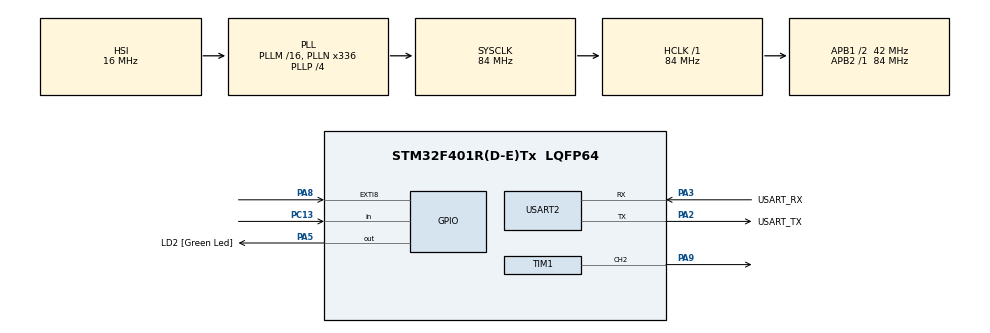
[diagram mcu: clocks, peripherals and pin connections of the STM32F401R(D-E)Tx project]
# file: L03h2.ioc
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Mcu.Family=STM32F4
Mcu.Name=STM32F401R(D-E)Tx
Mcu.Package=LQFP64
NVIC.EXTI9_5_IRQn=true\:0\:0\:true\:false\:true\:true\:true\:true
NVIC.PriorityGroup=NVIC_PRIORITYGROUP_0
NVIC.TIM2_IRQn=true\:0\:0\:true\:false\:true\:true\:true\:true
PA13.GPIO_Label=TMS
PA13.Mode=Serial_Wire
PA13.Signal=SYS_JTMS-SWDIO
PA14.GPIO_Label=TCK
PA14.Mode=Serial_Wire
PA14.Signal=SYS_JTCK-SWCLK
PA2.GPIO_Label=USART_TX
PA2.GPIO_Mode=GPIO_MODE_AF_PP
PA2.GPIO_PuPd=GPIO_NOPULL
PA2.GPIO_Speed=GPIO_SPEED_FREQ_LOW
PA2.Mode=Asynchronous
PA2.Signal=USART2_TX
PA3.GPIO_Label=USART_RX
PA3.GPIO_Mode=GPIO_MODE_AF_PP
PA3.GPIO_PuPd=GPIO_NOPULL
PA3.GPIO_Speed=GPIO_SPEED_FREQ_LOW
PA3.Mode=Asynchronous
PA3.Signal=USART2_RX
PA5.GPIO_Label=LD2 [Green Led]
PA5.GPIO_Mode=GPIO_MODE_OUTPUT_PP
PA5.GPIO_PuPd=GPIO_NOPULL
PA5.GPIO_Speed=GPIO_SPEED_FREQ_LOW
PA5.Signal=GPIO_Output
PA8.Signal=GPXTI8
PA9.Signal=S_TIM1_CH2
PB3.GPIO_Label=SWO
PB3.Signal=SYS_JTDO-SWO
PC13-ANTI_TAMP.Signal=GPIO_Input
PC14-OSC32_IN.Mode=LSE-External-Oscillator
PC14-OSC32_IN.Signal=RCC_OSC32_IN
PC15-OSC32_OUT.Mode=LSE-External-Oscillator
PC15-OSC32_OUT.Signal=RCC_OSC32_OUT
PH0\ -\ OSC_IN.Mode=HSE-External-Clock-Source
PH0\ -\ OSC_IN.Signal=RCC_OSC_IN
PH1\ -\ OSC_OUT.Mode=HSE-External-Clock-Source
PH1\ -\ OSC_OUT.Signal=RCC_OSC_OUT
ProjectManager.HeapSize=0x200
ProjectManager.StackSize=0x400
ProjectManager.TargetToolchain=STM32CubeIDE
RCC.48MHZClocksFreq_Value=48000000
RCC.AHBFreq_Value=84000000
RCC.APB1CLKDivider=RCC_HCLK_DIV2
RCC.APB1Freq_Value=42000000
RCC.APB1TimFreq_Value=84000000
RCC.APB2Freq_Value=84000000
RCC.APB2TimFreq_Value=84000000
RCC.CortexFreq_Value=84000000
RCC.HCLKFreq_Value=84000000
RCC.HSE_VALUE=8000000
RCC.HSI_VALUE=16000000
RCC.PLLN=336
RCC.PLLP=RCC_PLLP_DIV4
RCC.PLLQ=7
RCC.SYSCLKFreq_VALUE=84000000
RCC.SYSCLKSource=RCC_SYSCLKSOURCE_PLLCLK
RCC.VCOOutputFreq_Value=336000000
SH.S_TIM1_CH2.0=TIM1_CH2,PWM Generation2 CH2
TIM1.Channel-PWM\ Generation2\ CH2=TIM_CHANNEL_2
TIM1.Period=1908
TIM1.Prescaler=99
TIM1.Pulse-PWM\ Generation2\ CH2=954
TIM2.AutoReloadPreload=TIM_AUTORELOAD_PRELOAD_DISABLE
TIM2.Period=9
TIM2.Prescaler=8399
USART2.VirtualMode=VM_ASYNC
VP_TIM1_VS_ClockSourceINT.Mode=Internal
VP_TIM2_VS_ClockSourceINT.Mode=Internal
board=NUCLEO-F401RE

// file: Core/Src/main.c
/* USER CODE BEGIN Header */
/**
  ******************************************************************************
  * @file           : main.c
  * @brief          : Main program body
  ******************************************************************************
  * @attention
  *
  * Copyright (c) 2024 STMicroelectronics.
  * All rights reserved.
  *
  * This software is licensed under terms that can be found in the LICENSE file
  * in the root directory of this software component.
  * If no LICENSE file comes with this software, it is provided AS-IS.
  *
  ******************************************************************************
  */
/* USER CODE END Header */
#include "main.h"

/* USER CODE BEGIN PTD */
typedef struct note {
	int period;
	int dur;
} note;
/* USER CODE END PTD */

/* USER CODE BEGIN PD */
#define _DO4 3205
#define _DOD4 3031
#define _RE4 2856
#define _RED4 2699
#define _MI4 2544
#define _FA4 2405
#define _FAD4 2269
#define _SOL4 2141
#define _SOLD4 2023
#define _LA4 1908
#define _LAD4 1801
#define _SI4 1699

#define BASE 749
/* USER CODE END PD */

TIM_HandleTypeDef htim1;
TIM_HandleTypeDef htim2;

UART_HandleTypeDef huart2;

/* USER CODE BEGIN PV */
note score[] = {
		{_SOL4, 6},
		{_LA4, 2},
		{_SOL4, 4},
		{_FA4, 4},
		{_MI4, 4},
		{_FA4, 4},
		{_SOL4, 8},
		{_RE4, 4},
		{_MI4, 4},
		{_FA4, 8},
		{_MI4, 4},
		{_FA4, 4},
		{_SOL4, 8},
		{_SOL4, 6},
		{_LA4, 2},
		{_SOL4, 4},
		{_FA4, 4},
		{_MI4, 4},
		{_FA4, 4},
		{_SOL4, 8},
		{_RE4, 8},
		{_SOL4, 8},
		{_MI4, 4},
		{_DO4, 12},
};
int song_playing = 0;
int score_len = sizeof(score)/sizeof(score[0]);
int note_index = 0;
/* USER CODE END PV */

void SystemClock_Config(void);
static void MX_GPIO_Init(void);
static void MX_USART2_UART_Init(void);
static void MX_TIM1_Init(void);
static void MX_TIM2_Init(void);

/* USER CODE BEGIN 0 */

void play_note(int note_index) {
	HAL_TIM_PWM_Stop(&htim1, TIM_CHANNEL_2);
	HAL_TIM_Base_Stop_IT(&htim2);

	if (note_index >= score_len) {
		__HAL_TIM_CLEAR_IT(&htim2, TIM_IT_UPDATE);
		song_playing = 0;
		return;
	}

	note n = score[note_index];

	htim1.Instance->ARR = n.period;
	htim1.Instance->CCR2 = n.period/2;
	htim1.Instance->CNT = 0;

	htim2.Instance->ARR = n.dur * (BASE + 1) - 1;
	htim2.Instance->CNT = 0;

	HAL_TIM_PWM_Start(&htim1, TIM_CHANNEL_2);
	HAL_TIM_Base_Start_IT(&htim2);
	__HAL_TIM_CLEAR_IT(&htim2, TIM_IT_UPDATE);
}

void play_song(){
	song_playing = 1;
	note_index = 0;
	play_note(note_index);
}
/* USER CODE END 0 */

int main(void)
{

  /* MCU Configuration--------------------------------------------------------*/

  /* Reset of all peripherals, Initializes the Flash interface and the Systick. */
  HAL_Init();

  /* Configure the system clock */
  SystemClock_Config();

  /* Initialize all configured peripherals */
  MX_GPIO_Init();
  MX_USART2_UART_Init();
  MX_TIM1_Init();
  MX_TIM2_Init();

  /* Infinite loop */
  while (1)
  {

  }
}

void SystemClock_Config(void)
{
  RCC_OscInitTypeDef RCC_OscInitStruct = {0};
  RCC_ClkInitTypeDef RCC_ClkInitStruct = {0};

  /** Configure the main internal regulator output voltage
  */
  __HAL_RCC_PWR_CLK_ENABLE();
  __HAL_PWR_VOLTAGESCALING_CONFIG(PWR_REGULATOR_VOLTAGE_SCALE2);

  /** Initializes the RCC Oscillators according to the specified parameters
  * in the RCC_OscInitTypeDef structure.
  */
  RCC_OscInitStruct.OscillatorType = RCC_OSCILLATORTYPE_HSI;
  RCC_OscInitStruct.HSIState = RCC_HSI_ON;
  RCC_OscInitStruct.HSICalibrationValue = RCC_HSICALIBRATION_DEFAULT;
  RCC_OscInitStruct.PLL.PLLState = RCC_PLL_ON;
  RCC_OscInitStruct.PLL.PLLSource = RCC_PLLSOURCE_HSI;
  RCC_OscInitStruct.PLL.PLLM = 16;
  RCC_OscInitStruct.PLL.PLLN = 336;
  RCC_OscInitStruct.PLL.PLLP = RCC_PLLP_DIV4;
  RCC_OscInitStruct.PLL.PLLQ = 7;
  if (HAL_RCC_OscConfig(&RCC_OscInitStruct) != HAL_OK)
  {
    Error_Handler();
  }

  /** Initializes the CPU, AHB and APB buses clocks
  */
  RCC_ClkInitStruct.ClockType = RCC_CLOCKTYPE_HCLK|RCC_CLOCKTYPE_SYSCLK
                              |RCC_CLOCKTYPE_PCLK1|RCC_CLOCKTYPE_PCLK2;
  RCC_ClkInitStruct.SYSCLKSource = RCC_SYSCLKSOURCE_PLLCLK;
  RCC_ClkInitStruct.AHBCLKDivider = RCC_SYSCLK_DIV1;
  RCC_ClkInitStruct.APB1CLKDivider = RCC_HCLK_DIV2;
  RCC_ClkInitStruct.APB2CLKDivider = RCC_HCLK_DIV1;

  if (HAL_RCC_ClockConfig(&RCC_ClkInitStruct, FLASH_LATENCY_2) != HAL_OK)
  {
    Error_Handler();
  }
}

static void MX_TIM1_Init(void)
{

  TIM_ClockConfigTypeDef sClockSourceConfig = {0};
  TIM_MasterConfigTypeDef sMasterConfig = {0};
  TIM_OC_InitTypeDef sConfigOC = {0};
  TIM_BreakDeadTimeConfigTypeDef sBreakDeadTimeConfig = {0};

  htim1.Instance = TIM1;
  htim1.Init.Prescaler = 99;
  htim1.Init.CounterMode = TIM_COUNTERMODE_UP;
  htim1.Init.Period = 1908;
  htim1.Init.ClockDivision = TIM_CLOCKDIVISION_DIV1;
  htim1.Init.RepetitionCounter = 0;
  htim1.Init.AutoReloadPreload = TIM_AUTORELOAD_PRELOAD_DISABLE;
  if (HAL_TIM_Base_Init(&htim1) != HAL_OK)
  {
    Error_Handler();
  }
  sClockSourceConfig.ClockSource = TIM_CLOCKSOURCE_INTERNAL;
  if (HAL_TIM_ConfigClockSource(&htim1, &sClockSourceConfig) != HAL_OK)
  {
    Error_Handler();
  }
  if (HAL_TIM_PWM_Init(&htim1) != HAL_OK)
  {
    Error_Handler();
  }
  sMasterConfig.MasterOutputTrigger = TIM_TRGO_RESET;
  sMasterConfig.MasterSlaveMode = TIM_MASTERSLAVEMODE_DISABLE;
  if (HAL_TIMEx_MasterConfigSynchronization(&htim1, &sMasterConfig) != HAL_OK)
  {
    Error_Handler();
  }
  sConfigOC.OCMode = TIM_OCMODE_PWM1;
  sConfigOC.Pulse = 954;
  sConfigOC.OCPolarity = TIM_OCPOLARITY_HIGH;
  sConfigOC.OCNPolarity = TIM_OCNPOLARITY_HIGH;
  sConfigOC.OCFastMode = TIM_OCFAST_DISABLE;
  sConfigOC.OCIdleState = TIM_OCIDLESTATE_RESET;
  sConfigOC.OCNIdleState = TIM_OCNIDLESTATE_RESET;
  if (HAL_TIM_PWM_ConfigChannel(&htim1, &sConfigOC, TIM_CHANNEL_2) != HAL_OK)
  {
    Error_Handler();
  }
  sBreakDeadTimeConfig.OffStateRunMode = TIM_OSSR_DISABLE;
  sBreakDeadTimeConfig.OffStateIDLEMode = TIM_OSSI_DISABLE;
  sBreakDeadTimeConfig.LockLevel = TIM_LOCKLEVEL_OFF;
  sBreakDeadTimeConfig.DeadTime = 0;
  sBreakDeadTimeConfig.BreakState = TIM_BREAK_DISABLE;
  sBreakDeadTimeConfig.BreakPolarity = TIM_BREAKPOLARITY_HIGH;
  sBreakDeadTimeConfig.AutomaticOutput = TIM_AUTOMATICOUTPUT_DISABLE;
  if (HAL_TIMEx_ConfigBreakDeadTime(&htim1, &sBreakDeadTimeConfig) != HAL_OK)
  {
    Error_Handler();
  }
  HAL_TIM_MspPostInit(&htim1);

}

static void MX_TIM2_Init(void)
{

  TIM_ClockConfigTypeDef sClockSourceConfig = {0};
  TIM_MasterConfigTypeDef sMasterConfig = {0};

  htim2.Instance = TIM2;
  htim2.Init.Prescaler = 8399;
  htim2.Init.CounterMode = TIM_COUNTERMODE_UP;
  htim2.Init.Period = 9;
  htim2.Init.ClockDivision = TIM_CLOCKDIVISION_DIV1;
  htim2.Init.AutoReloadPreload = TIM_AUTORELOAD_PRELOAD_DISABLE;
  if (HAL_TIM_Base_Init(&htim2) != HAL_OK)
  {
    Error_Handler();
  }
  sClockSourceConfig.ClockSource = TIM_CLOCKSOURCE_INTERNAL;
  if (HAL_TIM_ConfigClockSource(&htim2, &sClockSourceConfig) != HAL_OK)
  {
    Error_Handler();
  }
  sMasterConfig.MasterOutputTrigger = TIM_TRGO_RESET;
  sMasterConfig.MasterSlaveMode = TIM_MASTERSLAVEMODE_DISABLE;
  if (HAL_TIMEx_MasterConfigSynchronization(&htim2, &sMasterConfig) != HAL_OK)
  {
    Error_Handler();
  }

}

static void MX_USART2_UART_Init(void)
{

  huart2.Instance = USART2;
  huart2.Init.BaudRate = 115200;
  huart2.Init.WordLength = UART_WORDLENGTH_8B;
  huart2.Init.StopBits = UART_STOPBITS_1;
  huart2.Init.Parity = UART_PARITY_NONE;
  huart2.Init.Mode = UART_MODE_TX_RX;
  huart2.Init.HwFlowCtl = UART_HWCONTROL_NONE;
  huart2.Init.OverSampling = UART_OVERSAMPLING_16;
  if (HAL_UART_Init(&huart2) != HAL_OK)
  {
    Error_Handler();
  }

}

static void MX_GPIO_Init(void)
{
  GPIO_InitTypeDef GPIO_InitStruct = {0};

  /* GPIO Ports Clock Enable */
  __HAL_RCC_GPIOC_CLK_ENABLE();
  __HAL_RCC_GPIOH_CLK_ENABLE();
  __HAL_RCC_GPIOA_CLK_ENABLE();
  __HAL_RCC_GPIOB_CLK_ENABLE();

  /*Configure GPIO pin Output Level */
  HAL_GPIO_WritePin(LD2_GPIO_Port, LD2_Pin, GPIO_PIN_RESET);

  /*Configure GPIO pin : PC13 */
  GPIO_InitStruct.Pin = GPIO_PIN_13;
  GPIO_InitStruct.Mode = GPIO_MODE_INPUT;
  GPIO_InitStruct.Pull = GPIO_NOPULL;
  HAL_GPIO_Init(GPIOC, &GPIO_InitStruct);

  /*Configure GPIO pin : LD2_Pin */
  GPIO_InitStruct.Pin = LD2_Pin;
  GPIO_InitStruct.Mode = GPIO_MODE_OUTPUT_PP;
  GPIO_InitStruct.Pull = GPIO_NOPULL;
  GPIO_InitStruct.Speed = GPIO_SPEED_FREQ_LOW;
  HAL_GPIO_Init(LD2_GPIO_Port, &GPIO_InitStruct);

  /*Configure GPIO pin : PA8 */
  GPIO_InitStruct.Pin = GPIO_PIN_8;
  GPIO_InitStruct.Mode = GPIO_MODE_IT_RISING;
  GPIO_InitStruct.Pull = GPIO_NOPULL;
  HAL_GPIO_Init(GPIOA, &GPIO_InitStruct);

  /* EXTI interrupt init*/
  HAL_NVIC_SetPriority(EXTI9_5_IRQn, 0, 0);
  HAL_NVIC_EnableIRQ(EXTI9_5_IRQn);

}

/* USER CODE BEGIN 4 */
void HAL_TIM_PeriodElapsedCallback(TIM_HandleTypeDef *htim) {
	if (htim->Instance == TIM2) {
		play_note(++note_index);
	}
}

void HAL_GPIO_EXTI_Callback(uint16_t GPIO_Pin) {
	if (GPIO_Pin == GPIO_PIN_8) {
		if (song_playing == 0) {
			play_song();
		}
	}
}
/* USER CODE END 4 */

void Error_Handler(void)
{
  __disable_irq();
  while (1)
  {
  }
}
